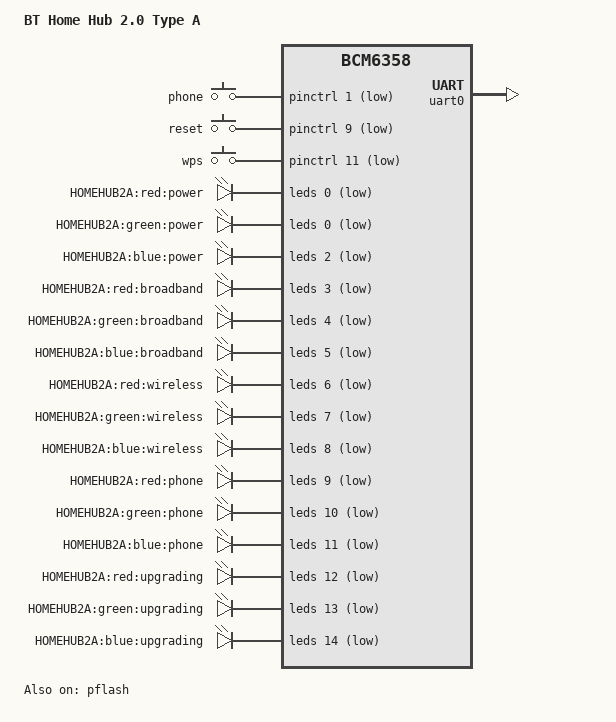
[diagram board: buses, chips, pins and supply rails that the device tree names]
/dts-v1/;

#include "bcm6358.dtsi"

#include <dt-bindings/input/input.h>

/ {
	model = "BT Home Hub 2.0 Type A";
	compatible = "bt,home-hub-2-a", "brcm,bcm6358";

	aliases {
		led-boot = &led_power_green;
		led-failsafe = &led_power_green;
		led-running = &led_power_green;
		led-upgrade = &led_upgrading_green;
	};

	chosen {
		bootargs = "rootfstype=squashfs,jffs2 noinitrd console=ttyS0,115200";
		stdout-path = "serial0:115200n8";
	};

	keys {
		compatible = "gpio-keys-polled";
		#address-cells = <1>;
		#size-cells = <0>;
		poll-interval = <20>;

		phone {
			label = "phone";
			gpios = <&pinctrl 1 1>;
			linux,code = <KEY_PHONE>;
			debounce-interval = <60>;
		};

		reset {
			label = "reset";
			gpios = <&pinctrl 9 1>;
			linux,code = <KEY_RESTART>;
			debounce-interval = <60>;
		};

		wps {
			label = "wps";
			gpios = <&pinctrl 11 1>;
			linux,code = <KEY_WPS_BUTTON>;
			debounce-interval = <60>;
		};
	};
};

&leds {
	status = "okay";

	pinctrl-names = "default";
	pinctrl-0 = <&pinctrl_serial_led>;

	led@0 {
		reg = <0>;
		active-low;
		label = "HOMEHUB2A:red:power";
	};

	led_power_green: led@1 {
		reg = <0>;
		active-low;
		label = "HOMEHUB2A:green:power";
		default-state = "on";
	};

	led@2 {
		reg = <2>;
		active-low;
		label = "HOMEHUB2A:blue:power";
	};

	led@3 {
		reg = <3>;
		active-low;
		label = "HOMEHUB2A:red:broadband";
	};

	led@4 {
		reg = <4>;
		active-low;
		label = "HOMEHUB2A:green:broadband";
	};

	led@5 {
		reg = <5>;
		active-low;
		label = "HOMEHUB2A:blue:broadband";
	};

	led@6 {
		reg = <6>;
		active-low;
		label = "HOMEHUB2A:red:wireless";
	};

	led@7 {
		reg = <7>;
		active-low;
		label = "HOMEHUB2A:green:wireless";
	};

	led@8 {
		reg = <8>;
		active-low;
		label = "HOMEHUB2A:blue:wireless";
	};

	led@9 {
		reg = <9>;
		active-low;
		label = "HOMEHUB2A:red:phone";
	};

	led@10 {
		reg = <10>;
		active-low;
		label = "HOMEHUB2A:green:phone";
	};

	led@11 {
		reg = <11>;
		active-low;
		label = "HOMEHUB2A:blue:phone";
	};

	led@12 {
		reg = <12>;
		active-low;
		label = "HOMEHUB2A:red:upgrading";
	};

	led_upgrading_green: led@13 {
		reg = <13>;
		active-low;
		label = "HOMEHUB2A:green:upgrading";
	};

	led@14 {
		reg = <14>;
		active-low;
		label = "HOMEHUB2A:blue:upgrading";
	};
};

&pflash {
	status = "okay";

	partitions {
		compatible = "fixed-partitions";
		#address-cells = <1>;
		#size-cells = <1>;

		cfe@0 {
			label = "CFE";
			reg = <0x000000 0x020000>;
		};

		linux@20000 {
			label = "linux";
			reg = <0x020000 0xfc0000>;
			compatible = "brcm,bcm963xx-imagetag";
		};

		nvram@fe0000 {
			label = "nvram";
			reg = <0xfe0000 0x020000>;
		};
	};
};

&uart0 {
	status = "okay";
};
